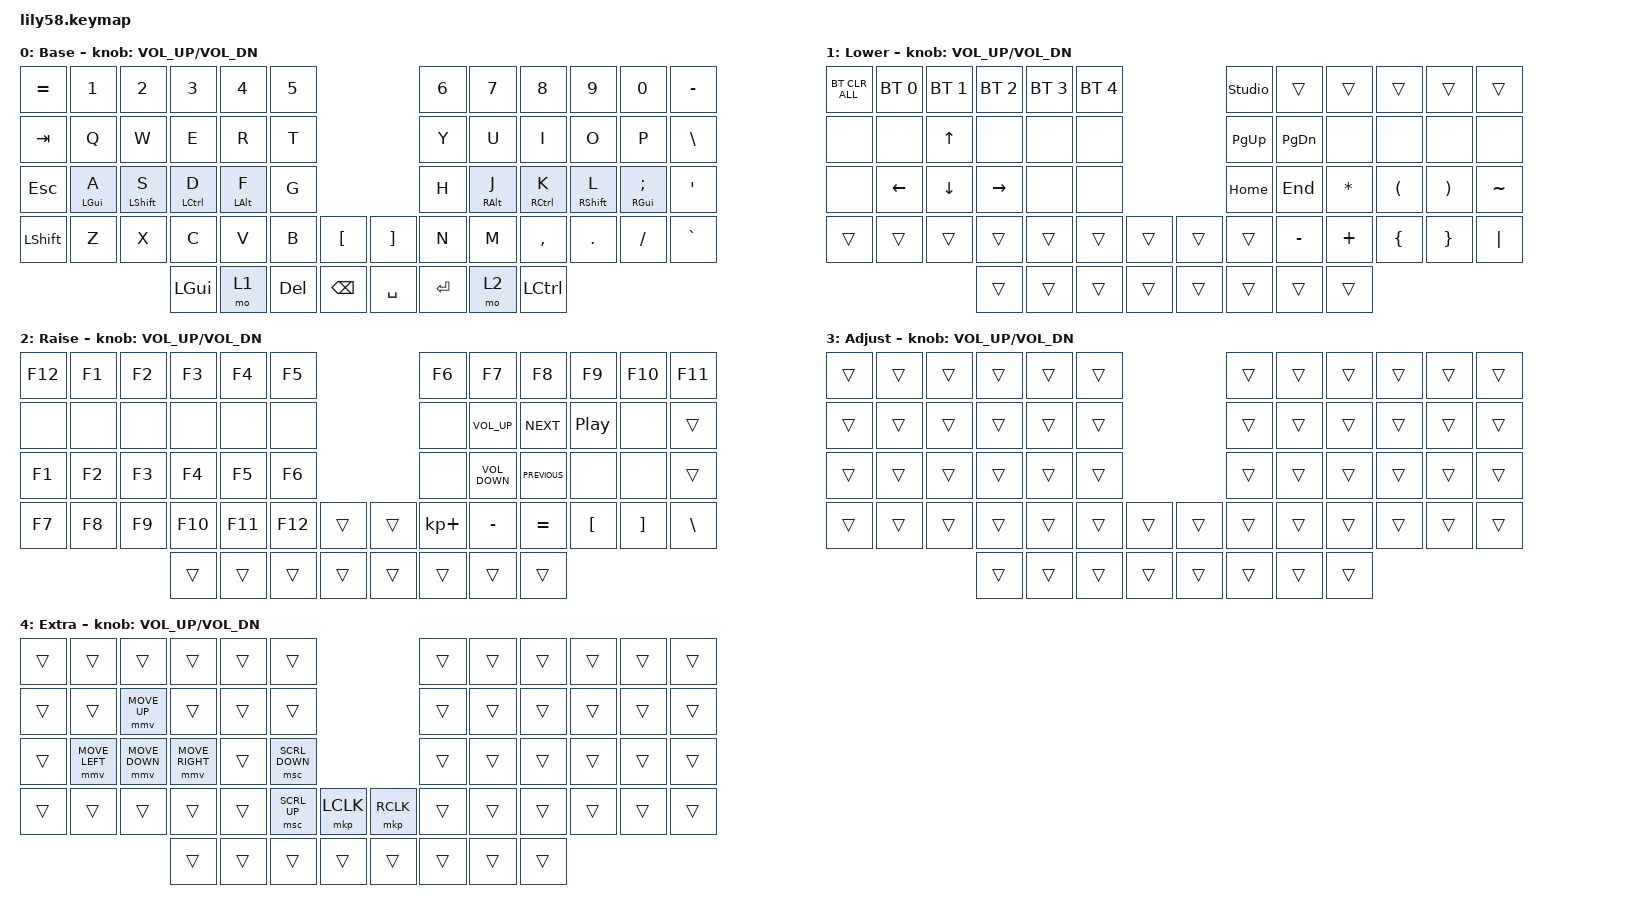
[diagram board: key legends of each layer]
/*
 * Copyright (c) 2020 The ZMK Contributors
 *
 * SPDX-License-Identifier: MIT
 */

#include <behaviors.dtsi>
#include <dt-bindings/zmk/bt.h>
#include <dt-bindings/zmk/keys.h>
#include <dt-bindings/zmk/pointing.h>

#define default_layer 0
#define lower_layer 1
#define raise_layer 2
#define adjust_layer 3
#define extra_layer 4

#define KEYS_L 0 1 2 3 4 5 12 13 14 15 16 17 24 25 26 27 28 29 36 37 38 39 40 41 42
#define KEYS_R 6 7 8 9 10 11 18 19 20 21 22 23 30 31 32 33 34 35 43 44 45 46 47 48 49
#define THUMBS 50 51 52 53 54 55 56 57

/ {
    behaviors {
        hml: home_row_mod_left {
            compatible = "zmk,behavior-hold-tap";
            #binding-cells = <2>;
            bindings = <&kp>, <&kp>;
            flavor = "balanced";
            tapping-term-ms = <280>;
            quick-tap-ms = <175>;
            require-prior-idle-ms = <150>;
            hold-trigger-key-positions = <KEYS_R THUMBS>;
            hold-trigger-on-release;
        };
        hmr: home_row_mod_right {
            compatible = "zmk,behavior-hold-tap";
            #binding-cells = <2>;
            bindings = <&kp>, <&kp>;
            flavor = "balanced";
            tapping-term-ms = <280>;
            quick-tap-ms = <175>;
            require-prior-idle-ms = <150>;
            hold-trigger-key-positions = <KEYS_L THUMBS>;
            hold-trigger-on-release;
        };
        hsl: home_row_shift_left {
            compatible = "zmk,behavior-hold-tap";
            #binding-cells = <2>;
            bindings = <&kp>, <&kp>;
            flavor = "balanced";
            tapping-term-ms = <280>;
            quick-tap-ms = <175>;
            require-prior-idle-ms = <100>;
            hold-trigger-key-positions = <KEYS_R THUMBS>;
            hold-trigger-on-release;
        };
        hsr: home_row_shift_right {
            compatible = "zmk,behavior-hold-tap";
            #binding-cells = <2>;
            bindings = <&kp>, <&kp>;
            flavor = "balanced";
            tapping-term-ms = <280>;
            quick-tap-ms = <175>;
            require-prior-idle-ms = <100>;
            hold-trigger-key-positions = <KEYS_L THUMBS>;
            hold-trigger-on-release;
        };
    };

    keymap {
        compatible = "zmk,keymap";

        default_layer {
            display-name = "Base";

            // ------------------------------------------------------------------------------------------------------------
            // |  ESC  |  1  |  2  |  3   |  4   |  5   |                   |  6   |  7    |  8    |  9   |   0   |   `   |
            // |  TAB  |  Q  |  W  |  E   |  R   |  T   |                   |  Y   |  U    |  I    |  O   |   P   |   -   |
            // |  CTRL |  A  |  S  |  D   |  F   |  G   |                   |  H   |  J    |  K    |  L   |   ;   |   '   |
            // | SHIFT |  Z  |  X  |  C   |  V   |  B   |   "["  |  |  "]"  |  N   |  M    |  ,    |  .   |   /   | SHIFT |
            //                     | ALT  | GUI  | LOWER|  SPACE |  | ENTER | RAISE| BSPC  | GUI   |

            bindings = <
&kp EQUAL  &kp N1      &kp N2            &kp N3              &kp N4          &kp N5                                  &kp N6   &kp N7           &kp N8               &kp N9             &kp N0         &kp MINUS
&kp TAB    &kp Q       &kp W             &kp E               &kp R           &kp T                                   &kp Y    &kp U            &kp I                &kp O              &kp P          &kp BACKSLASH
&kp ESC    &hml LGUI A &hsl LEFT_SHIFT S &hml LEFT_CONTROL D &hml LEFT_ALT F &kp G                                   &kp H    &hmr RIGHT_ALT J &hmr RIGHT_CONTROL K &hsr RIGHT_SHIFT L &hmr RGUI SEMI &kp SQT
&kp LSHFT  &kp Z       &kp X             &kp C               &kp V           &kp B       &kp LBKT         &kp RBKT   &kp N    &kp M            &kp COMMA            &kp DOT            &kp FSLH       &kp GRAVE
                                         &kp LEFT_GUI        &mo 1           &kp DELETE  &kp BACKSPACE    &kp SPACE  &kp RET  &mo 2            &kp LEFT_CONTROL
            >;

            sensor-bindings = <&inc_dec_kp C_VOL_UP C_VOL_DN>;
        };

        lower_layer {
            display-name = "Lower";

            // ------------------------------------------------------------------------------------------------------------
            // | BTCLR | BT1 | BT2 |  BT3 |  BT4 |  BT5 |                   |      |       |       |      |       |       |
            // |  F1   |  F2 |  F3 |  F4  |  F5  |  F6  |                   |  F7  |  F8   |  F9   |  F10 |  F11  |  F12  |
            // |   `   |  !  |  @  |  #   |  $   |  %   |                   |  ^   |  &    |  *    |  (   |   )   |   ~   |
            // |       |     |     |      |      |      |        |  |       |      |  _    |  +    |  {   |   }   |  "|"  |
            //                     |      |      |      |        |  |       |      |       |       |

            bindings = <
&bt BT_CLR_ALL  &bt BT_SEL 0  &bt BT_SEL 1    &bt BT_SEL 2  &bt BT_SEL 3  &bt BT_SEL 4                    &studio_unlock  &trans         &trans     &trans    &trans    &trans
&none           &none         &kp UP_ARROW    &none         &none         &none                           &kp PAGE_UP     &kp PAGE_DOWN  &none      &none     &none     &none
&none           &kp LEFT      &kp DOWN_ARROW  &kp RIGHT     &none         &none                           &kp HOME        &kp END        &kp ASTRK  &kp LPAR  &kp RPAR  &kp TILDE
&trans          &trans        &trans          &trans        &trans        &trans        &trans    &trans  &trans          &kp MINUS      &kp PLUS   &kp LBRC  &kp RBRC  &kp PIPE
                                              &trans        &trans        &trans        &trans    &trans  &trans          &trans         &trans
            >;

            sensor-bindings = <&inc_dec_kp C_VOL_UP C_VOL_DN>;
        };

        raise_layer {
            display-name = "Raise";

            // ------------------------------------------------------------------------------------------------------------
            // |       |     |     |      |      |      |                   |      |       |       |      |       |       |
            // |   `   |  1  |  2  |  3   |  4   |  5   |                   |  6   |   7   |   8   |  9   |   0   |       |
            // |   F1  |  F2 |  F3 |  F4  |  F5  |  F6  |                   |      |   <-  |   v   |  ^   |  ->   |       |
            // |   F7  |  F8 |  F9 |  F10 |  F11 |  F12 |        |  |       |  +   |   -   |   =   |  [   |   ]   |   \   |
            //                     |      |      |      |        |  |       |      |       |       |

            bindings = <
&kp F12  &kp F1  &kp F2  &kp F3   &kp F4   &kp F5                     &kp F6       &kp F7             &kp F8          &kp F9            &kp F10   &kp F11
&none    &none   &none   &none    &none    &none                      &none        &kp C_VOLUME_UP    &kp C_NEXT      &kp C_PLAY_PAUSE  &none     &trans
&kp F1   &kp F2  &kp F3  &kp F4   &kp F5   &kp F6                     &none        &kp C_VOLUME_DOWN  &kp C_PREVIOUS  &none             &none     &trans
&kp F7   &kp F8  &kp F9  &kp F10  &kp F11  &kp F12  &trans    &trans  &kp KP_PLUS  &kp MINUS          &kp EQUAL       &kp LBKT          &kp RBKT  &kp BSLH
                         &trans   &trans   &trans   &trans    &trans  &trans       &trans             &trans
            >;

            sensor-bindings = <&inc_dec_kp C_VOL_UP C_VOL_DN>;
        };

        adjust_layer {
            display-name = "Adjust";

            // ------------------------------------------------------------------------------------------------------------
            // |       |     |     |      |      |      |                   |      |       |       |      |       |       |
            // |   `   |  1  |  2  |  3   |  4   |  5   |                   |  6   |   7   |   8   |  9   |   0   |       |
            // |   F1  |  F2 |  F3 |  F4  |  F5  |  F6  |                   |      |   <-  |   v   |  ^   |  ->   |       |
            // |   F7  |  F8 |  F9 |  F10 |  F11 |  F12 |        |  |       |  +   |   -   |   =   |  [   |   ]   |   \   |
            //                     |      |      |      |        |  |       |      |       |       |

            bindings = <
&trans  &trans  &trans  &trans  &trans  &trans                    &trans  &trans  &trans  &trans  &trans  &trans
&trans  &trans  &trans  &trans  &trans  &trans                    &trans  &trans  &trans  &trans  &trans  &trans
&trans  &trans  &trans  &trans  &trans  &trans                    &trans  &trans  &trans  &trans  &trans  &trans
&trans  &trans  &trans  &trans  &trans  &trans  &trans    &trans  &trans  &trans  &trans  &trans  &trans  &trans
                        &trans  &trans  &trans  &trans    &trans  &trans  &trans  &trans
            >;

            sensor-bindings = <&inc_dec_kp C_VOL_UP C_VOL_DN>;
        };

        extra_layer {
            display-name = "Extra";

            // ------------------------------------------------------------------------------------------------------------
            // |       |     |     |      |      |      |                   |      |       |       |      |       |       |
            // |   `   |  1  |  2  |  3   |  4   |  5   |                   |  6   |   7   |   8   |  9   |   0   |       |
            // |   F1  |  F2 |  F3 |  F4  |  F5  |  F6  |                   |      |   <-  |   v   |  ^   |  ->   |       |
            // |   F7  |  F8 |  F9 |  F10 |  F11 |  F12 |        |  |       |  +   |   -   |   =   |  [   |   ]   |   \   |
            //                     |      |      |      |        |  |       |      |       |       |

            bindings = <
&trans  &trans          &trans          &trans           &trans  &trans                                  &trans  &trans  &trans  &trans  &trans  &trans
&trans  &trans          &mmv MOVE_UP    &trans           &trans  &trans                                  &trans  &trans  &trans  &trans  &trans  &trans
&trans  &mmv MOVE_LEFT  &mmv MOVE_DOWN  &mmv MOVE_RIGHT  &trans  &msc SCRL_DOWN                          &trans  &trans  &trans  &trans  &trans  &trans
&trans  &trans          &trans          &trans           &trans  &msc SCRL_UP    &mkp LCLK    &mkp RCLK  &trans  &trans  &trans  &trans  &trans  &trans
                                        &trans           &trans  &trans          &trans       &trans     &trans  &trans  &trans
            >;

            sensor-bindings = <&inc_dec_kp C_VOL_UP C_VOL_DN>;
        };
    };
};
